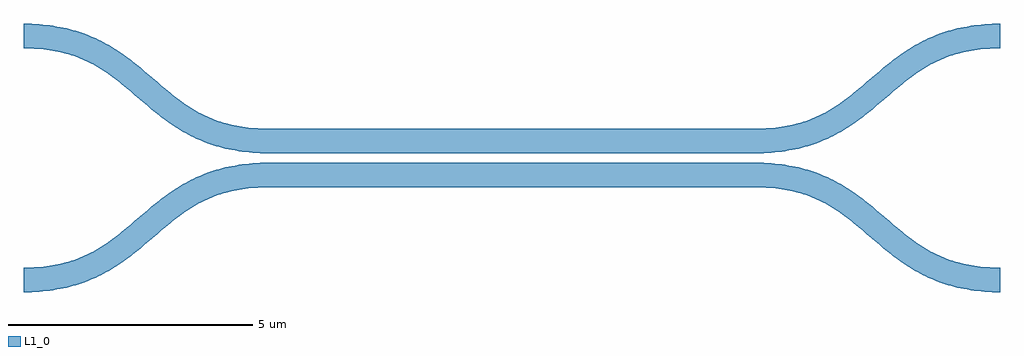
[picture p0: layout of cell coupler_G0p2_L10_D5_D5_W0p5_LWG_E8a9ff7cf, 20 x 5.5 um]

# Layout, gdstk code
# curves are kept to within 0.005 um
import gdstk
lib = gdstk.Library(unit=1e-6, precision=1e-09)
def R(c, l, rs):  # rectangles x0, y0, x1, y1
    for r in rs: c.add(gdstk.rectangle(r[:2], r[2:], *l))
def P(c, l, *ps):  # polygons
    for p in ps: c.add(gdstk.Polygon(p, *l))
L1_0 = (1, 0)

bend_s_w0p5_h2p15_l5_lwg = lib.new_cell('bend_s_W0p5_H2p15_L5_LWG_NP99_TS0_TS1_E8a9ff7cf')
P(bend_s_w0p5_h2p15_l5_lwg, L1_0, [(0,-0.25),(0,0.25),(0.341,0.265),(0.587,0.297),(0.758,0.332),(1.02,0.408),(1.165,0.463),(1.348,0.547),(1.603,0.692),(1.919,0.916),(2.651,1.53),(2.991,1.788),(3.274,1.967),(3.427,2.05),(3.588,2.125),(3.758,2.194),(3.938,2.254),(4.26,2.333),(4.613,2.383),(5,2.4),(5,1.9),(4.659,1.885),(4.413,1.853),(4.242,1.818),(3.98,1.742),(3.835,1.687),(3.652,1.603),(3.397,1.458),(3.081,1.234),(2.349,0.62),(2.009,0.362),(1.726,0.183),(1.573,0.1),(1.412,0.025),(1.242,-0.044),(1.062,-0.104),(0.74,-0.183),(0.387,-0.233)],
  [(0,-0.25),(0,0.25),(0.341,0.265),(0.587,0.297),(0.758,0.332),(1.02,0.408),(1.165,0.463),(1.348,0.547),(1.603,0.692),(1.919,0.916),(2.651,1.53),(2.991,1.788),(3.274,1.967),(3.427,2.05),(3.588,2.125),(3.758,2.194),(3.938,2.254),(4.26,2.333),(4.613,2.383),(5,2.4),(5,1.9),(4.659,1.885),(4.413,1.853),(4.242,1.818),(3.98,1.742),(3.835,1.687),(3.652,1.603),(3.397,1.458),(3.081,1.234),(2.349,0.62),(2.009,0.362),(1.726,0.183),(1.573,0.1),(1.412,0.025),(1.242,-0.044),(1.062,-0.104),(0.74,-0.183),(0.387,-0.233)])

straight_w500_l10000_lwg = lib.new_cell('straight_W500_L10000_LWG_E8a9ff7cf')
R(straight_w500_l10000_lwg, L1_0, [(0,-0.25,10,0.25)])

straight_coupler_g0p2_l1 = lib.new_cell('straight_coupler_G0p2_L10_W0p5_LWG_E8a9ff7cf')
straight_coupler_g0p2_l1.add(gdstk.Reference(straight_w500_l10000_lwg, (0,0.349), x_reflection=True))
straight_coupler_g0p2_l1.add(gdstk.Reference(straight_w500_l10000_lwg, (0,-0.349)))

coupler_g0p2_l10_d5_d5_w = lib.new_cell('coupler_G0p2_L10_D5_D5_W0p5_LWG_E8a9ff7cf')
coupler_g0p2_l10_d5_d5_w.add(gdstk.Reference(bend_s_w0p5_h2p15_l5_lwg, (-5,2.499), x_reflection=True))
coupler_g0p2_l10_d5_d5_w.add(gdstk.Reference(bend_s_w0p5_h2p15_l5_lwg, (-5,-2.499)))
coupler_g0p2_l10_d5_d5_w.add(gdstk.Reference(straight_coupler_g0p2_l1, (0,0)))
coupler_g0p2_l10_d5_d5_w.add(gdstk.Reference(bend_s_w0p5_h2p15_l5_lwg, (10,-0.349), x_reflection=True))
coupler_g0p2_l10_d5_d5_w.add(gdstk.Reference(bend_s_w0p5_h2p15_l5_lwg, (10,0.349)))

lib.write_gds('coupler_G0p2_L10_D5_D5_W0p5_LWG_E8a9ff7cf.gds')
